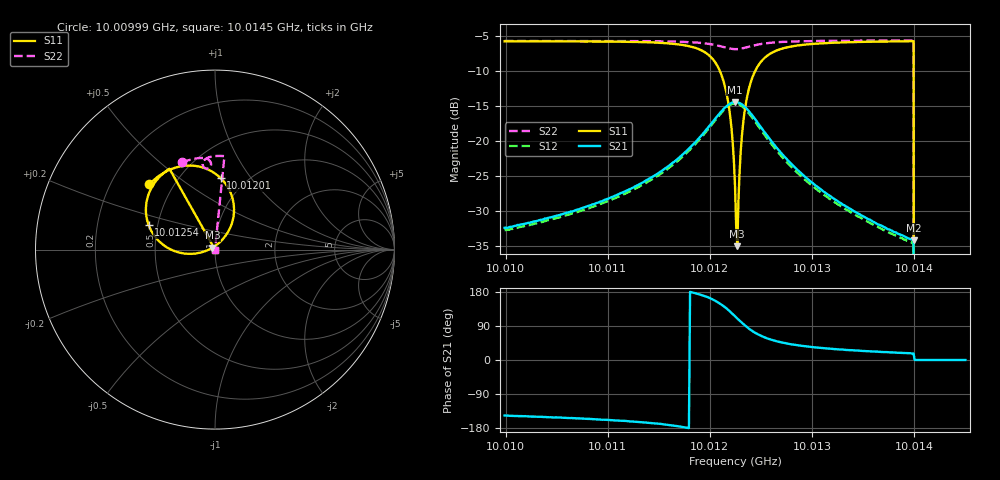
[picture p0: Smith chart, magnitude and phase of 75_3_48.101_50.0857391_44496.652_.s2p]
#  HZ  S  RI  R  50.00
! Rohde & Schwarz Vector Network Analyzer
! Rohde-Schwarz,ZNB20-2Port,1311601062101988,3.16
! Created: UTC 12/23/2023, 3:42:12 AM
! freq[Hz]  re:S11  im:S11  re:S21  im:S21  re:S12  im:S12  re:S22  im:S22
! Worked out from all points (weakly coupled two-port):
!   401 points, 10.00999 GHz to 10.0145 GHz, reference 50 ohm
!   highest |S21| = -14.45 dB at 10.01225 GHz (marker M1); lowest = -34.3 dB at 10.01399 GHz (marker M2)
!   lowest |S11| = -35.1 dB at 10.01227 GHz (marker M3), VSWR 1.04, Z = 48.6 + j1.03 ohm
!   |S11| at or under -10 dB: 10.0121 GHz to 10.01244 GHz (345.4 kHz wide, 0.00345 % of centre); 10.014 GHz to end of sweep
!   |S22| runs from - to -5.6 dB; largest |S21 - S12| = 0.0092
!   S11 on the Smith chart (normalised r, x): 10.00999 GHz: 0.37, +0.37; 10.01201 GHz: 0.77, +0.73; 10.01254 GHz: 0.45, +0.15; 10.0145 GHz: 1.00, +0.00
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1.0009989e10  -0.3655 0.3647  -0.0199 -0.0131  -0.0184 -0.0136  -0.1822 0.4858
1.0010745e10  -0.3096 0.4123  -0.0298 -0.0141  -0.0279 -0.0149  -0.1332 0.5018
1.0011501e10  -0.2022 0.4616  -0.0578 -0.012  -0.0551 -0.0144  -0.0771 0.5107
1.0011828e10  -0.0861 0.4621  -0.0928 0.00287  -0.0898 -0.00179  -0.0459 0.5061
1.0012009e10  0.0323 0.3971  -0.1254 0.0401  -0.1236 0.0325  -0.0269 0.4914
1.0012099e10  0.0931 0.3003  -0.1352 0.0827  -0.1362 0.0735  -0.0218 0.4764
1.0012167e10  0.1033 0.1849  -0.1263 0.1254  -0.1283 0.118  -0.0256 0.4623
1.0012212e10  0.0727 0.0982  -0.105 0.1546  -0.1088 0.147  -0.0335 0.4545
1.0012246e10  0.0261 0.0404  -0.0815 0.1711  -0.0855 0.1641  -0.0412 0.4517
1.0012269e10  -0.0141 0.0105  -0.0634 0.1781  -0.0673 0.1713  -0.0472 0.4514
1.001228e10  -0.0373 -0.00149  -0.0535 0.1801  -0.0581 0.1737  -0.0499 0.4519
1.0012314e10  -0.1069 -0.0216  -0.0264 0.1804  -0.0308 0.1743  -0.0579 0.4552
1.0012359e10  -0.1962 -0.0171  0.0066 0.1703  0.00194 0.1646  -0.0651 0.463
1.0012426e10  -0.2951 0.0318  0.0396 0.1432  0.0334 0.1385  -0.0691 0.4766
1.0012539e10  -0.37 0.1377  0.0585 0.0982  0.0523 0.0959  -0.0631 0.4944
1.0012731e10  -0.3821 0.2607  0.0543 0.0543  0.0497 0.0537  -0.0449 0.5099
1.0013002e10  -0.3526 0.3463  0.0416 0.028  0.0382 0.0285  -0.0205 0.5181
1.0013758e10  -0.2743 0.4358  0.0218 0.00802  0.0202 0.00875  0.0364 0.5215
1.0013972e10  -0.2559 0.4492  0.0188 0.00592  0.0175 0.00675  0.0512 0.5208
1.0013995e10  -0.2539 0.4505  0.0185 0.00573  0.0172 0.00632  0.0527 0.5207
1.0014029e10  0 0  0 0  0 0  0 0
1.0014503e10  0 0  0 0  0 0  0 0
